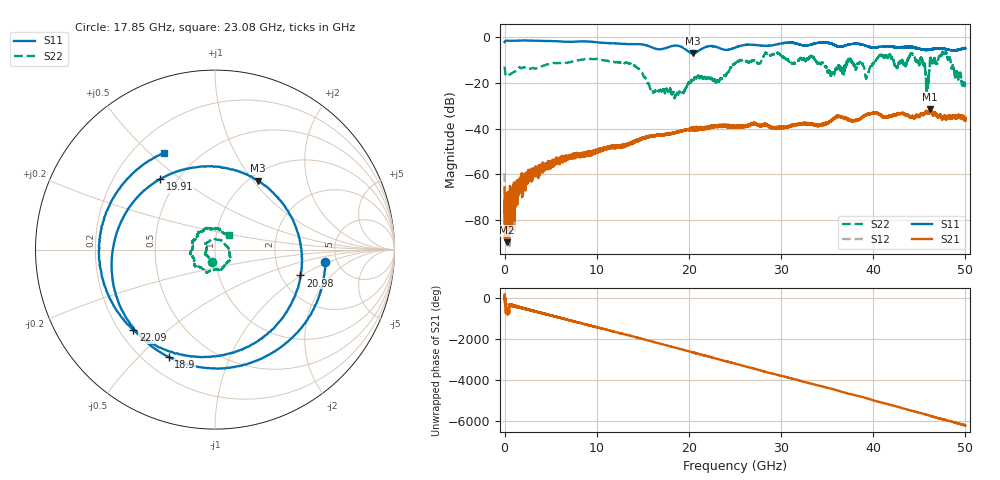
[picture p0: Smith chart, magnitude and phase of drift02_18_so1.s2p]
!Created with skrf (http://scikit-rf.org).
# Hz S RI R 50.0
!freq ReS11 ImS11 ReS21 ImS21 ReS12 ImS12 ReS22 ImS22
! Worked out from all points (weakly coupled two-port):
!   10001 points, 300 kHz to 50 GHz, reference 50 ohm
!   highest |S21| = -31.55 dB at 46.19 GHz (marker M1); lowest = -89.7 dB at 260.3 MHz (marker M2)
!   lowest |S11| = -6.9 dB at 20.41 GHz (marker M3), VSWR 2.64, Z = 54.6 + j52.6 ohm
!   |S11| at or under -10 dB: nowhere
!   |S22| runs from -26.6 to -6.2 dB; largest |S21 - S12| = 0.0035
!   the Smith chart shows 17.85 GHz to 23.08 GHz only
!   S11 on the Smith chart (normalised r, x): 17.85 GHz: 4.02, -0.89; 18.9 GHz: 0.30, -0.62; 19.91 GHz: 0.40, +0.42; 20.98 GHz: 2.55, -0.98; 22.09 GHz: 0.26, -0.39; 23.08 GHz: 0.32, +0.56
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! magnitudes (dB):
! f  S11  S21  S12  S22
! 300 kHz  -2.1  -65.8  -59.5  -12.8
! 260.3 MHz  -1.4  -89.7  -73.6  -17.0
! 2.995 GHz  -1.4  -59.8  -59.5  -13.5
! 8.335 GHz  -1.7  -51.0  -51.8  -9.7
! 13.7 GHz  -2.9  -46.2  -46.7  -11.6
! 16.67 GHz  -5.2  -42.8  -42.6  -23.5
! 17.85 GHz  -4.2  -42.5  -42.3  -23.1
! 18.9 GHz  -3.7  -41.2  -41.4  -24.1
! 19.91 GHz  -6.1  -40.3  -40.3  -20.0
! 20.41 GHz  -6.9  -40.1  -41.0  -19.0
! 20.98 GHz  -6.1  -40.0  -39.9  -16.8
! 22.09 GHz  -3.9  -39.2  -39.4  -17.7
! 23.08 GHz  -4.3  -38.9  -38.5  -19.0
! 25 GHz  -4.5  -39.1  -39.1  -11.5
! 33.34 GHz  -3.0  -38.0  -37.9  -8.3
! 39.32 GHz  -3.8  -33.7  -33.8  -17.0
! 41.67 GHz  -4.0  -34.5  -34.6  -7.8
! 44.26 GHz  -4.3  -34.5  -34.6  -7.4
! 45.85 GHz  -5.5  -33.1  -33.1  -20.4
! 46.19 GHz  -5.3  -31.5  -31.8  -9.5
! 47.75 GHz  -5.0  -34.5  -34.4  -6.9
! 50 GHz  -4.8  -36.5  -36.1  -19.4
